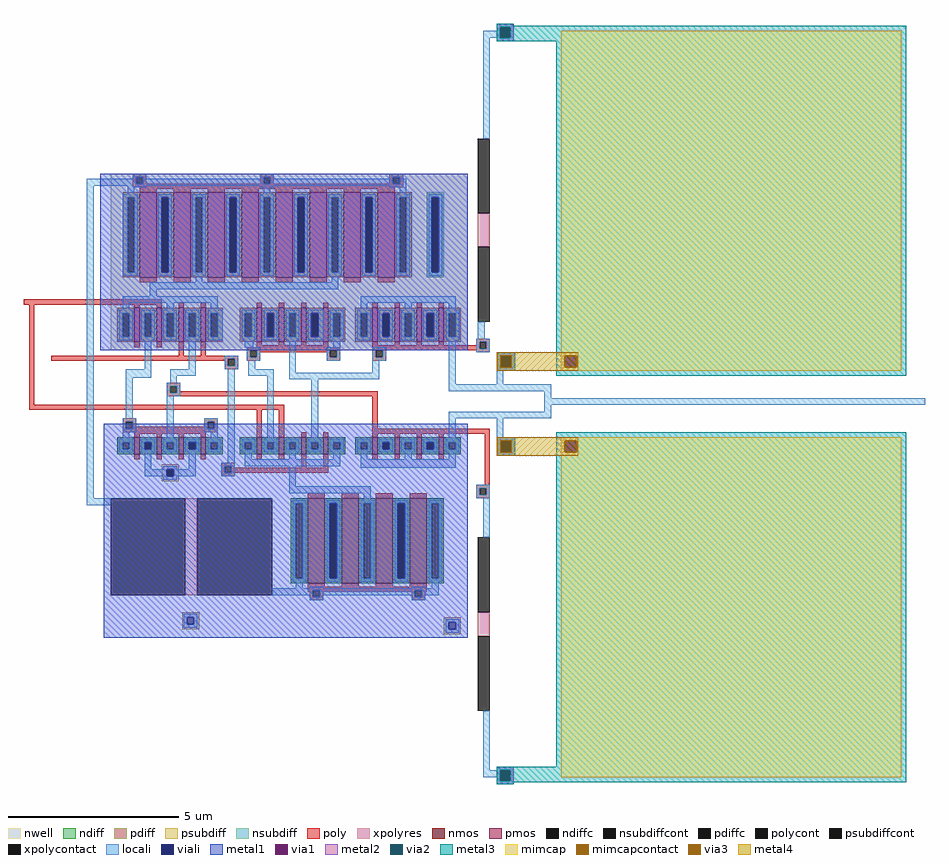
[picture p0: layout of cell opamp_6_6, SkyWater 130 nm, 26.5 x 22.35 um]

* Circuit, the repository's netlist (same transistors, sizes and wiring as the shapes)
* NGSPICE file created from opamp_6_6.ext - technology: sky130A

**.subckt opamp_6_6
X0 a_3420_n350# a_3000_310# w_1980_260# w_1980_260# sky130_fd_pr__pfet_01v8 ad=0.25 pd=1.5 as=0.25 ps=1.5 w=1 l=0.15
X1 w_1980_260# a_3000_310# a_3420_n350# w_1980_260# sky130_fd_pr__pfet_01v8 ad=0.25 pd=1.5 as=0.5 ps=3 w=1 l=0.15
X2 a_3420_n350# a_2280_n350# a_2150_n350# a_2150_n350# sky130_fd_pr__nfet_01v8 ad=0.125 pd=1 as=0.125 ps=1 w=0.5 l=0.15
X3 a_3420_n350# a_4140_1066# sky130_fd_pr__cap_mim_m3_1 l=10 w=10
X4 a_2020_310# a_1980_n1180# w_1980_260# w_1980_260# sky130_fd_pr__pfet_01v8 ad=0.625 pd=3 as=0.625 ps=3 w=2.5 l=0.5
X5 a_3420_n350# a_3000_310# w_1980_260# w_1980_260# sky130_fd_pr__pfet_01v8 ad=0.5 pd=3 as=0.25 ps=1.5 w=1 l=0.15
X6 a_2280_n350# a_2020_n350# a_2150_n350# a_2150_n350# sky130_fd_pr__nfet_01v8 ad=0.125 pd=1 as=0.125 ps=1 w=0.5 l=0.15
X7 w_1980_260# a_1980_n1180# a_2020_310# w_1980_260# sky130_fd_pr__pfet_01v8 ad=0.625 pd=3 as=0.625 ps=3 w=2.5 l=0.5
X8 a_4140_1066# a_3000_310# a_2150_n350# sky130_fd_pr__res_xhigh_po_0p35 l=1.14
X9 a_2150_n350# a_2280_n350# a_3420_n350# a_2150_n350# sky130_fd_pr__nfet_01v8 ad=0.125 pd=1 as=0.25 ps=2 w=0.5 l=0.15
X10 a_2150_n350# a_2020_n350# a_2020_n350# a_2150_n350# sky130_fd_pr__nfet_01v8 ad=0.125 pd=1 as=0.25 ps=2 w=0.5 l=0.15
X11 w_1980_260# a_1980_n1180# a_1980_n1180# w_1980_260# sky130_fd_pr__pfet_01v8 ad=0.625 pd=3 as=1.25 ps=6 w=2.5 l=0.5
X12 a_2280_n350# a_1630_200# a_2020_310# w_1980_260# sky130_fd_pr__pfet_01v8 ad=0.25 pd=1.5 as=0.25 ps=1.5 w=1 l=0.15
X13 a_2020_310# a_1470_530# a_2020_n350# w_1980_260# sky130_fd_pr__pfet_01v8 ad=0.25 pd=1.5 as=0.25 ps=1.5 w=1 l=0.15
X14 a_2490_n1180# a_2490_n1180# a_2150_n350# a_2150_n350# sky130_fd_pr__nfet_01v8 ad=1.25 pd=6 as=0.625 ps=3 w=2.5 l=0.5
X15 w_1980_260# a_1980_n1180# a_2020_310# w_1980_260# sky130_fd_pr__pfet_01v8 ad=0.625 pd=3 as=0.625 ps=3 w=2.5 l=0.5
X16 a_2020_n350# a_1470_530# a_2020_310# w_1980_260# sky130_fd_pr__pfet_01v8 ad=0.25 pd=1.5 as=0.5 ps=3 w=1 l=0.15
X17 a_3420_n350# a_2280_n350# a_2150_n350# a_2150_n350# sky130_fd_pr__nfet_01v8 ad=0.25 pd=2 as=0.125 ps=1 w=0.5 l=0.15
X18 a_1980_n1180# a_1980_n1180# w_1980_260# w_1980_260# sky130_fd_pr__pfet_01v8 ad=0.625 pd=3 as=0.625 ps=3 w=2.5 l=0.5
X19 a_2020_310# a_1630_200# a_2280_n350# w_1980_260# sky130_fd_pr__pfet_01v8 ad=0.5 pd=3 as=0.25 ps=1.5 w=1 l=0.15
X20 a_2020_n350# a_2020_n350# a_2150_n350# a_2150_n350# sky130_fd_pr__nfet_01v8 ad=0.25 pd=2 as=0.125 ps=1 w=0.5 l=0.15
X21 a_2150_n350# a_2490_n1180# a_2740_n350# a_2150_n350# sky130_fd_pr__nfet_01v8 ad=0.625 pd=3 as=0.625 ps=3 w=2.5 l=0.5
X22 a_2280_n350# a_4140_n1860# a_2150_n350# sky130_fd_pr__res_xhigh_po_0p35 l=0.86
X23 a_2740_n350# a_1630_200# a_3000_310# a_2150_n350# sky130_fd_pr__nfet_01v8 ad=0.25 pd=2 as=0.125 ps=1 w=0.5 l=0.15
X24 a_2740_310# a_2740_310# w_1980_260# w_1980_260# sky130_fd_pr__pfet_01v8 ad=0.5 pd=3 as=0.25 ps=1.5 w=1 l=0.15
X25 a_2020_310# a_1980_n1180# w_1980_260# w_1980_260# sky130_fd_pr__pfet_01v8 ad=0.625 pd=3 as=0.625 ps=3 w=2.5 l=0.5
X26 a_3000_310# a_1630_200# a_2740_n350# a_2150_n350# sky130_fd_pr__nfet_01v8 ad=0.125 pd=1 as=0.125 ps=1 w=0.5 l=0.15
X27 w_1980_260# a_2740_310# a_3000_310# w_1980_260# sky130_fd_pr__pfet_01v8 ad=0.25 pd=1.5 as=0.25 ps=1.5 w=1 l=0.15
X28 a_2740_n350# a_2490_n1180# a_2150_n350# a_2150_n350# sky130_fd_pr__nfet_01v8 ad=0.625 pd=3 as=0.625 ps=3 w=2.5 l=0.5
X29 a_2740_n350# a_1470_530# a_2740_310# a_2150_n350# sky130_fd_pr__nfet_01v8 ad=0.125 pd=1 as=0.125 ps=1 w=0.5 l=0.15
X30 a_3000_310# a_2740_310# w_1980_260# w_1980_260# sky130_fd_pr__pfet_01v8 ad=0.25 pd=1.5 as=0.25 ps=1.5 w=1 l=0.15
X31 a_3420_n350# a_4140_n1860# sky130_fd_pr__cap_mim_m3_1 l=10 w=10
X32 a_1980_n1180# a_1980_n1180# w_1980_260# w_1980_260# sky130_fd_pr__pfet_01v8 ad=1.25 pd=6 as=0.625 ps=3 w=2.5 l=0.5
X33 w_1980_260# a_2740_310# a_2740_310# w_1980_260# sky130_fd_pr__pfet_01v8 ad=0.25 pd=1.5 as=0.5 ps=3 w=1 l=0.15
X34 a_2150_n350# a_2280_n350# a_3420_n350# a_2150_n350# sky130_fd_pr__nfet_01v8 ad=0.125 pd=1 as=0.125 ps=1 w=0.5 l=0.15
X35 a_1980_n1180# a_2490_n1180# a_2150_n350# sky130_fd_pr__res_xhigh_po_2p85 l=0.51
X36 w_1980_260# a_3000_310# a_3420_n350# w_1980_260# sky130_fd_pr__pfet_01v8 ad=0.25 pd=1.5 as=0.25 ps=1.5 w=1 l=0.15
X37 w_1980_260# a_1980_n1180# a_1980_n1180# w_1980_260# sky130_fd_pr__pfet_01v8 ad=0.625 pd=3 as=0.625 ps=3 w=2.5 l=0.5
X38 a_2150_n350# a_2020_n350# a_2280_n350# a_2150_n350# sky130_fd_pr__nfet_01v8 ad=0.125 pd=1 as=0.125 ps=1 w=0.5 l=0.15
X39 a_2740_310# a_1470_530# a_2740_n350# a_2150_n350# sky130_fd_pr__nfet_01v8 ad=0.125 pd=1 as=0.25 ps=2 w=0.5 l=0.15
X40 a_2150_n350# a_2490_n1180# a_2490_n1180# a_2150_n350# sky130_fd_pr__nfet_01v8 ad=0.625 pd=3 as=1.25 ps=6 w=2.5 l=0.5
.ends

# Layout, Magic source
magic
tech sky130A
<< nwell >>
rect 990 130 2040 650
<< nmos >>
rect 1060 -175 1075 -125
rect 1125 -175 1140 -125
rect 1190 -175 1205 -125
rect 1255 -175 1270 -125
rect 1420 -175 1435 -125
rect 1485 -175 1500 -125
rect 1550 -175 1565 -125
rect 1615 -175 1630 -125
rect 1760 -175 1775 -125
rect 1825 -175 1840 -125
rect 1890 -175 1905 -125
rect 1955 -175 1970 -125
rect 1570 -555 1620 -305
rect 1670 -555 1720 -305
rect 1770 -555 1820 -305
rect 1870 -555 1920 -305
<< pmos >>
rect 1075 345 1125 595
rect 1175 345 1225 595
rect 1275 345 1325 595
rect 1375 345 1425 595
rect 1475 345 1525 595
rect 1575 345 1625 595
rect 1675 345 1725 595
rect 1775 345 1825 595
rect 1060 155 1075 255
rect 1125 155 1140 255
rect 1190 155 1205 255
rect 1255 155 1270 255
rect 1420 155 1435 255
rect 1485 155 1500 255
rect 1550 155 1565 255
rect 1615 155 1630 255
rect 1760 155 1775 255
rect 1825 155 1840 255
rect 1890 155 1905 255
rect 1955 155 1970 255
<< ndiff >>
rect 1010 -140 1060 -125
rect 1010 -160 1025 -140
rect 1045 -160 1060 -140
rect 1010 -175 1060 -160
rect 1075 -140 1125 -125
rect 1075 -160 1090 -140
rect 1110 -160 1125 -140
rect 1075 -175 1125 -160
rect 1140 -140 1190 -125
rect 1140 -160 1155 -140
rect 1175 -160 1190 -140
rect 1140 -175 1190 -160
rect 1205 -140 1255 -125
rect 1205 -160 1220 -140
rect 1240 -160 1255 -140
rect 1205 -175 1255 -160
rect 1270 -140 1320 -125
rect 1270 -160 1285 -140
rect 1305 -160 1320 -140
rect 1270 -175 1320 -160
rect 1370 -140 1420 -125
rect 1370 -160 1385 -140
rect 1405 -160 1420 -140
rect 1370 -175 1420 -160
rect 1435 -140 1485 -125
rect 1435 -160 1450 -140
rect 1470 -160 1485 -140
rect 1435 -175 1485 -160
rect 1500 -140 1550 -125
rect 1500 -160 1515 -140
rect 1535 -160 1550 -140
rect 1500 -175 1550 -160
rect 1565 -140 1615 -125
rect 1565 -160 1580 -140
rect 1600 -160 1615 -140
rect 1565 -175 1615 -160
rect 1630 -140 1680 -125
rect 1630 -160 1645 -140
rect 1665 -160 1680 -140
rect 1630 -175 1680 -160
rect 1710 -140 1760 -125
rect 1710 -160 1725 -140
rect 1745 -160 1760 -140
rect 1710 -175 1760 -160
rect 1775 -140 1825 -125
rect 1775 -160 1790 -140
rect 1810 -160 1825 -140
rect 1775 -175 1825 -160
rect 1840 -140 1890 -125
rect 1840 -160 1855 -140
rect 1875 -160 1890 -140
rect 1840 -175 1890 -160
rect 1905 -140 1955 -125
rect 1905 -160 1920 -140
rect 1940 -160 1955 -140
rect 1905 -175 1955 -160
rect 1970 -140 2020 -125
rect 1970 -160 1985 -140
rect 2005 -160 2020 -140
rect 1970 -175 2020 -160
rect 1520 -320 1570 -305
rect 1520 -540 1535 -320
rect 1555 -540 1570 -320
rect 1520 -555 1570 -540
rect 1620 -320 1670 -305
rect 1620 -540 1635 -320
rect 1655 -540 1670 -320
rect 1620 -555 1670 -540
rect 1720 -320 1770 -305
rect 1720 -540 1735 -320
rect 1755 -540 1770 -320
rect 1720 -555 1770 -540
rect 1820 -320 1870 -305
rect 1820 -540 1835 -320
rect 1855 -540 1870 -320
rect 1820 -555 1870 -540
rect 1920 -320 1970 -305
rect 1920 -540 1935 -320
rect 1955 -540 1970 -320
rect 1920 -555 1970 -540
<< pdiff >>
rect 1025 580 1075 595
rect 1025 360 1040 580
rect 1060 360 1075 580
rect 1025 345 1075 360
rect 1125 580 1175 595
rect 1125 360 1140 580
rect 1160 360 1175 580
rect 1125 345 1175 360
rect 1225 580 1275 595
rect 1225 360 1240 580
rect 1260 360 1275 580
rect 1225 345 1275 360
rect 1325 580 1375 595
rect 1325 360 1340 580
rect 1360 360 1375 580
rect 1325 345 1375 360
rect 1425 580 1475 595
rect 1425 360 1440 580
rect 1460 360 1475 580
rect 1425 345 1475 360
rect 1525 580 1575 595
rect 1525 360 1540 580
rect 1560 360 1575 580
rect 1525 345 1575 360
rect 1625 580 1675 595
rect 1625 360 1640 580
rect 1660 360 1675 580
rect 1625 345 1675 360
rect 1725 580 1775 595
rect 1725 360 1740 580
rect 1760 360 1775 580
rect 1725 345 1775 360
rect 1825 580 1875 595
rect 1825 360 1840 580
rect 1860 360 1875 580
rect 1825 345 1875 360
rect 1010 240 1060 255
rect 1010 170 1025 240
rect 1045 170 1060 240
rect 1010 155 1060 170
rect 1075 240 1125 255
rect 1075 170 1090 240
rect 1110 170 1125 240
rect 1075 155 1125 170
rect 1140 240 1190 255
rect 1140 170 1155 240
rect 1175 170 1190 240
rect 1140 155 1190 170
rect 1205 240 1255 255
rect 1205 170 1220 240
rect 1240 170 1255 240
rect 1205 155 1255 170
rect 1270 240 1320 255
rect 1270 170 1285 240
rect 1305 170 1320 240
rect 1270 155 1320 170
rect 1370 240 1420 255
rect 1370 170 1385 240
rect 1405 170 1420 240
rect 1370 155 1420 170
rect 1435 240 1485 255
rect 1435 170 1450 240
rect 1470 170 1485 240
rect 1435 155 1485 170
rect 1500 240 1550 255
rect 1500 170 1515 240
rect 1535 170 1550 240
rect 1500 155 1550 170
rect 1565 240 1615 255
rect 1565 170 1580 240
rect 1600 170 1615 240
rect 1565 155 1615 170
rect 1630 240 1680 255
rect 1630 170 1645 240
rect 1665 170 1680 240
rect 1630 155 1680 170
rect 1710 240 1760 255
rect 1710 170 1725 240
rect 1745 170 1760 240
rect 1710 155 1760 170
rect 1775 240 1825 255
rect 1775 170 1790 240
rect 1810 170 1825 240
rect 1775 155 1825 170
rect 1840 240 1890 255
rect 1840 170 1855 240
rect 1875 170 1890 240
rect 1840 155 1890 170
rect 1905 240 1955 255
rect 1905 170 1920 240
rect 1940 170 1955 240
rect 1905 155 1955 170
rect 1970 240 2020 255
rect 1970 170 1985 240
rect 2005 170 2020 240
rect 1970 155 2020 170
<< ndiffc >>
rect 1025 -160 1045 -140
rect 1090 -160 1110 -140
rect 1155 -160 1175 -140
rect 1220 -160 1240 -140
rect 1285 -160 1305 -140
rect 1385 -160 1405 -140
rect 1450 -160 1470 -140
rect 1515 -160 1535 -140
rect 1580 -160 1600 -140
rect 1645 -160 1665 -140
rect 1725 -160 1745 -140
rect 1790 -160 1810 -140
rect 1855 -160 1875 -140
rect 1920 -160 1940 -140
rect 1985 -160 2005 -140
rect 1535 -540 1555 -320
rect 1635 -540 1655 -320
rect 1735 -540 1755 -320
rect 1835 -540 1855 -320
rect 1935 -540 1955 -320
<< pdiffc >>
rect 1040 360 1060 580
rect 1140 360 1160 580
rect 1240 360 1260 580
rect 1340 360 1360 580
rect 1440 360 1460 580
rect 1540 360 1560 580
rect 1640 360 1660 580
rect 1740 360 1760 580
rect 1840 360 1860 580
rect 1025 170 1045 240
rect 1090 170 1110 240
rect 1155 170 1175 240
rect 1220 170 1240 240
rect 1285 170 1305 240
rect 1385 170 1405 240
rect 1450 170 1470 240
rect 1515 170 1535 240
rect 1580 170 1600 240
rect 1645 170 1665 240
rect 1725 170 1745 240
rect 1790 170 1810 240
rect 1855 170 1875 240
rect 1920 170 1940 240
rect 1985 170 2005 240
<< psubdiff >>
rect 1140 -220 1190 -205
rect 1140 -240 1155 -220
rect 1175 -240 1190 -220
rect 1140 -255 1190 -240
rect 1200 -690 1250 -640
rect 1970 -705 2020 -655
<< nsubdiff >>
rect 1920 580 1970 595
rect 1920 360 1935 580
rect 1955 360 1970 580
rect 1920 345 1970 360
<< psubdiffcont >>
rect 1155 -240 1175 -220
<< nsubdiffcont >>
rect 1935 360 1955 580
<< poly >>
rect 1055 640 1095 650
rect 1055 620 1065 640
rect 1085 620 1095 640
rect 1430 640 1470 650
rect 1430 620 1440 640
rect 1460 620 1470 640
rect 1810 640 1850 650
rect 1810 620 1820 640
rect 1840 620 1850 640
rect 1055 610 1850 620
rect 1075 605 1825 610
rect 1075 595 1125 605
rect 1175 595 1225 605
rect 1275 595 1325 605
rect 1375 595 1425 605
rect 1475 595 1525 605
rect 1575 595 1625 605
rect 1675 595 1725 605
rect 1775 595 1825 605
rect 1075 330 1125 345
rect 1175 330 1225 345
rect 1275 330 1325 345
rect 1375 330 1425 345
rect 1475 330 1525 345
rect 1575 330 1625 345
rect 1675 330 1725 345
rect 1775 330 1825 345
rect 735 265 1140 280
rect 750 -30 765 265
rect 1060 255 1075 265
rect 1125 255 1140 265
rect 1190 255 1205 270
rect 1255 255 1270 270
rect 1420 255 1435 270
rect 1485 255 1500 270
rect 1550 255 1565 270
rect 1615 255 1630 270
rect 1760 255 1775 270
rect 1825 255 1840 270
rect 1890 255 1905 270
rect 1955 255 1970 270
rect 2065 155 2105 165
rect 1060 140 1075 155
rect 1125 140 1140 155
rect 1190 115 1205 155
rect 1255 115 1270 155
rect 1420 145 1435 155
rect 1485 145 1500 155
rect 1550 145 1565 155
rect 1615 145 1630 155
rect 1420 140 1630 145
rect 1760 145 1775 155
rect 1825 145 1840 155
rect 1890 145 1905 155
rect 1955 145 1970 155
rect 2065 145 2075 155
rect 1390 130 1665 140
rect 815 105 1365 115
rect 815 100 1335 105
rect 1325 85 1335 100
rect 1355 85 1365 105
rect 1390 110 1400 130
rect 1420 125 1635 130
rect 1420 110 1430 125
rect 1390 100 1430 110
rect 1625 110 1635 125
rect 1655 110 1665 130
rect 1625 100 1665 110
rect 1760 135 2075 145
rect 2095 135 2105 155
rect 1760 130 2105 135
rect 1760 110 1770 130
rect 1790 110 1800 130
rect 2065 125 2105 130
rect 1760 100 1800 110
rect 1325 75 1365 85
rect 1155 25 1195 35
rect 1155 5 1165 25
rect 1185 10 1195 25
rect 1185 5 1775 10
rect 1155 -5 1775 5
rect 750 -45 1500 -30
rect 1025 -80 1065 -70
rect 1025 -100 1035 -80
rect 1055 -95 1065 -80
rect 1265 -80 1305 -70
rect 1265 -95 1275 -80
rect 1055 -100 1275 -95
rect 1295 -100 1305 -80
rect 1025 -110 1305 -100
rect 1060 -115 1270 -110
rect 1060 -125 1075 -115
rect 1125 -125 1140 -115
rect 1190 -125 1205 -115
rect 1255 -125 1270 -115
rect 1420 -125 1435 -45
rect 1485 -125 1500 -45
rect 1760 -100 1775 -5
rect 1550 -125 1565 -110
rect 1615 -125 1630 -110
rect 1760 -115 2105 -100
rect 1760 -125 1775 -115
rect 1825 -125 1840 -115
rect 1890 -125 1905 -115
rect 1955 -125 1970 -115
rect 1060 -190 1075 -175
rect 1125 -190 1140 -175
rect 1190 -190 1205 -175
rect 1255 -190 1270 -175
rect 1420 -190 1435 -175
rect 1485 -190 1500 -175
rect 1315 -210 1355 -200
rect 1315 -230 1325 -210
rect 1345 -215 1355 -210
rect 1550 -215 1565 -175
rect 1615 -215 1630 -175
rect 1760 -190 1775 -175
rect 1825 -190 1840 -175
rect 1890 -190 1905 -175
rect 1955 -190 1970 -175
rect 1345 -230 1630 -215
rect 1315 -240 1355 -230
rect 2090 -265 2105 -115
rect 2065 -275 2105 -265
rect 1570 -305 1620 -290
rect 1670 -305 1720 -290
rect 1770 -305 1820 -290
rect 1870 -305 1920 -290
rect 2065 -295 2075 -275
rect 2095 -295 2105 -275
rect 2065 -305 2105 -295
rect 1570 -565 1620 -555
rect 1670 -565 1720 -555
rect 1770 -565 1820 -555
rect 1870 -565 1920 -555
rect 1570 -575 1920 -565
rect 1570 -580 1585 -575
rect 1575 -595 1585 -580
rect 1605 -580 1885 -575
rect 1605 -595 1615 -580
rect 1575 -605 1615 -595
rect 1875 -595 1885 -580
rect 1905 -580 1920 -575
rect 1905 -595 1915 -580
rect 1875 -605 1915 -595
<< polycont >>
rect 1065 620 1085 640
rect 1440 620 1460 640
rect 1820 620 1840 640
rect 1335 85 1355 105
rect 1400 110 1420 130
rect 1635 110 1655 130
rect 2075 135 2095 155
rect 1770 110 1790 130
rect 1165 5 1185 25
rect 1035 -100 1055 -80
rect 1275 -100 1295 -80
rect 1325 -230 1345 -210
rect 2075 -295 2095 -275
rect 1585 -595 1605 -575
rect 1885 -595 1905 -575
<< xpolycontact >>
rect 2070 533 2105 753
rect 2070 215 2105 435
rect 990 -590 1210 -305
rect 1245 -590 1465 -305
rect 2070 -640 2105 -420
rect 2070 -930 2105 -710
<< xpolyres >>
rect 2070 435 2105 533
rect 1210 -590 1245 -305
rect 2070 -710 2105 -640
<< locali >>
rect 2125 1080 2175 1090
rect 2125 1070 2135 1080
rect 2085 1050 2135 1070
rect 2165 1050 2175 1080
rect 2085 753 2105 1050
rect 2125 1040 2175 1050
rect 1055 640 1095 650
rect 1055 635 1065 640
rect 920 620 1065 635
rect 1085 635 1095 640
rect 1430 640 1470 650
rect 1430 635 1440 640
rect 1085 620 1440 635
rect 1460 635 1470 640
rect 1810 640 1850 650
rect 1810 635 1820 640
rect 1460 620 1820 635
rect 1840 635 1850 640
rect 1840 620 1860 635
rect 920 615 1860 620
rect 920 -305 940 615
rect 1040 610 1095 615
rect 1430 610 1470 615
rect 1810 610 1860 615
rect 1040 590 1060 610
rect 1440 590 1460 610
rect 1840 590 1860 610
rect 1025 580 1070 590
rect 1025 360 1040 580
rect 1060 360 1070 580
rect 1025 350 1070 360
rect 1130 580 1170 590
rect 1130 360 1140 580
rect 1160 360 1170 580
rect 1130 350 1170 360
rect 1230 580 1270 590
rect 1230 360 1240 580
rect 1260 360 1270 580
rect 1230 350 1270 360
rect 1330 580 1370 590
rect 1330 360 1340 580
rect 1360 360 1370 580
rect 1330 350 1370 360
rect 1430 580 1470 590
rect 1430 360 1440 580
rect 1460 360 1470 580
rect 1430 350 1470 360
rect 1530 580 1570 590
rect 1530 360 1540 580
rect 1560 360 1570 580
rect 1530 350 1570 360
rect 1630 580 1670 590
rect 1630 360 1640 580
rect 1660 360 1670 580
rect 1630 350 1670 360
rect 1730 580 1770 590
rect 1730 360 1740 580
rect 1760 360 1770 580
rect 1730 350 1770 360
rect 1830 580 1870 590
rect 1830 360 1840 580
rect 1860 360 1870 580
rect 1830 350 1870 360
rect 1925 580 1965 590
rect 1925 360 1935 580
rect 1955 360 1965 580
rect 1925 350 1965 360
rect 1240 330 1260 350
rect 1640 330 1660 350
rect 1105 310 1660 330
rect 1105 290 1125 310
rect 1025 270 1305 290
rect 1025 250 1045 270
rect 1155 250 1175 270
rect 1285 250 1305 270
rect 1725 270 2005 290
rect 1725 250 1745 270
rect 1855 250 1875 270
rect 1985 250 2005 270
rect 1015 240 1055 250
rect 1015 170 1025 240
rect 1045 170 1055 240
rect 1015 160 1055 170
rect 1080 240 1120 250
rect 1080 170 1090 240
rect 1110 170 1120 240
rect 1080 160 1120 170
rect 1145 240 1185 250
rect 1145 170 1155 240
rect 1175 170 1185 240
rect 1145 160 1185 170
rect 1210 240 1250 250
rect 1210 170 1220 240
rect 1240 170 1250 240
rect 1210 160 1250 170
rect 1275 240 1320 250
rect 1275 170 1285 240
rect 1305 170 1320 240
rect 1275 160 1320 170
rect 1375 240 1415 250
rect 1375 170 1385 240
rect 1405 170 1415 240
rect 1375 160 1415 170
rect 1440 240 1480 250
rect 1440 170 1450 240
rect 1470 170 1480 240
rect 1440 160 1480 170
rect 1505 240 1545 250
rect 1505 170 1515 240
rect 1535 170 1545 240
rect 1505 160 1545 170
rect 1570 240 1615 250
rect 1570 170 1580 240
rect 1600 170 1615 240
rect 1570 160 1615 170
rect 1635 240 1675 250
rect 1635 170 1645 240
rect 1665 170 1675 240
rect 1635 160 1675 170
rect 1715 240 1755 250
rect 1715 170 1725 240
rect 1745 170 1755 240
rect 1715 160 1755 170
rect 1780 240 1820 250
rect 1780 170 1790 240
rect 1810 170 1820 240
rect 1780 160 1820 170
rect 1845 240 1885 250
rect 1845 170 1855 240
rect 1875 170 1885 240
rect 1845 160 1885 170
rect 1910 240 1950 250
rect 1910 170 1920 240
rect 1940 170 1950 240
rect 1910 160 1950 170
rect 1975 240 2015 250
rect 1975 170 1985 240
rect 2005 170 2015 240
rect 1975 160 2015 170
rect 2070 165 2090 215
rect 1090 75 1110 160
rect 1220 75 1240 160
rect 1385 140 1410 160
rect 1390 130 1430 140
rect 1325 105 1365 115
rect 1325 85 1335 105
rect 1355 85 1365 105
rect 1390 110 1400 130
rect 1420 110 1430 130
rect 1390 100 1430 110
rect 1325 75 1365 85
rect 1395 75 1415 100
rect 1035 50 1110 75
rect 1165 55 1240 75
rect 1035 -70 1055 50
rect 1165 35 1185 55
rect 1155 25 1195 35
rect 1155 5 1165 25
rect 1185 5 1195 25
rect 1155 -5 1195 5
rect 1025 -80 1065 -70
rect 1025 -100 1035 -80
rect 1055 -100 1065 -80
rect 1025 -110 1065 -100
rect 1025 -130 1045 -110
rect 1155 -130 1175 -5
rect 1265 -80 1305 -70
rect 1265 -100 1275 -80
rect 1295 -100 1305 -80
rect 1265 -110 1305 -100
rect 1285 -130 1305 -110
rect 1015 -140 1055 -130
rect 1015 -160 1025 -140
rect 1045 -160 1055 -140
rect 1015 -170 1055 -160
rect 1080 -140 1120 -130
rect 1080 -160 1090 -140
rect 1110 -160 1120 -140
rect 1080 -170 1120 -160
rect 1145 -140 1185 -130
rect 1145 -160 1155 -140
rect 1175 -160 1185 -140
rect 1145 -170 1185 -160
rect 1210 -140 1250 -130
rect 1210 -160 1220 -140
rect 1240 -160 1250 -140
rect 1210 -170 1250 -160
rect 1275 -140 1315 -130
rect 1275 -160 1285 -140
rect 1305 -160 1315 -140
rect 1275 -170 1315 -160
rect 1090 -220 1110 -170
rect 1145 -220 1185 -210
rect 1220 -220 1240 -170
rect 1335 -200 1355 75
rect 1395 55 1470 75
rect 1450 -130 1470 55
rect 1515 65 1535 160
rect 1645 140 1665 160
rect 1625 130 1665 140
rect 1625 110 1635 130
rect 1655 110 1665 130
rect 1625 100 1665 110
rect 1760 130 1800 140
rect 1760 110 1770 130
rect 1790 110 1800 130
rect 1760 100 1800 110
rect 1760 65 1780 100
rect 1515 45 1780 65
rect 1580 -130 1600 45
rect 1985 30 2005 160
rect 2065 155 2105 165
rect 2065 135 2075 155
rect 2095 135 2105 155
rect 2065 125 2105 135
rect 2125 115 2180 125
rect 2125 80 2135 115
rect 2170 80 2180 115
rect 2125 70 2180 80
rect 2125 30 2145 70
rect 1985 10 2285 30
rect 2265 -10 2285 10
rect 2265 -30 3385 -10
rect 2265 -50 2285 -30
rect 1985 -70 2285 -50
rect 1985 -130 2005 -70
rect 2125 -125 2145 -70
rect 1375 -140 1415 -130
rect 1375 -160 1385 -140
rect 1405 -160 1415 -140
rect 1375 -170 1415 -160
rect 1440 -140 1480 -130
rect 1440 -160 1450 -140
rect 1470 -160 1480 -140
rect 1440 -170 1480 -160
rect 1505 -140 1545 -130
rect 1505 -160 1515 -140
rect 1535 -160 1545 -140
rect 1505 -170 1545 -160
rect 1570 -140 1610 -130
rect 1570 -160 1580 -140
rect 1600 -160 1610 -140
rect 1570 -170 1610 -160
rect 1635 -140 1675 -130
rect 1635 -160 1645 -140
rect 1665 -160 1675 -140
rect 1635 -170 1675 -160
rect 1715 -140 1755 -130
rect 1715 -160 1725 -140
rect 1745 -160 1755 -140
rect 1715 -170 1755 -160
rect 1780 -140 1820 -130
rect 1780 -160 1790 -140
rect 1810 -160 1820 -140
rect 1780 -170 1820 -160
rect 1845 -140 1885 -130
rect 1845 -160 1855 -140
rect 1875 -160 1885 -140
rect 1845 -170 1885 -160
rect 1910 -140 1950 -130
rect 1910 -160 1920 -140
rect 1940 -160 1950 -140
rect 1910 -170 1950 -160
rect 1975 -140 2015 -130
rect 1975 -160 1985 -140
rect 2005 -160 2015 -140
rect 1975 -170 2015 -160
rect 2125 -135 2180 -125
rect 2125 -170 2135 -135
rect 2170 -170 2180 -135
rect 1090 -240 1155 -220
rect 1175 -240 1240 -220
rect 1315 -210 1355 -200
rect 1385 -190 1405 -170
rect 1515 -190 1535 -170
rect 1645 -190 1665 -170
rect 1385 -210 1665 -190
rect 1725 -190 1745 -170
rect 1855 -190 1875 -170
rect 1985 -190 2005 -170
rect 2125 -180 2180 -170
rect 1315 -230 1325 -210
rect 1345 -230 1355 -210
rect 1315 -240 1355 -230
rect 1145 -250 1185 -240
rect 1515 -270 1535 -210
rect 1725 -215 2005 -190
rect 1515 -290 1755 -270
rect 920 -325 990 -305
rect 1735 -310 1755 -290
rect 2065 -275 2105 -265
rect 2065 -295 2075 -275
rect 2095 -295 2105 -275
rect 2065 -305 2105 -295
rect 1525 -320 1565 -310
rect 1525 -540 1535 -320
rect 1555 -540 1565 -320
rect 1525 -550 1565 -540
rect 1625 -320 1665 -310
rect 1625 -540 1635 -320
rect 1655 -540 1665 -320
rect 1625 -550 1665 -540
rect 1725 -320 1765 -310
rect 1725 -540 1735 -320
rect 1755 -540 1765 -320
rect 1725 -550 1765 -540
rect 1825 -320 1865 -310
rect 1825 -540 1835 -320
rect 1855 -540 1865 -320
rect 1825 -550 1865 -540
rect 1925 -320 1965 -310
rect 1925 -540 1935 -320
rect 1955 -540 1965 -320
rect 2085 -420 2105 -305
rect 1925 -550 1965 -540
rect 1535 -570 1555 -550
rect 1575 -570 1615 -565
rect 1875 -570 1915 -565
rect 1935 -570 1955 -550
rect 1465 -575 1955 -570
rect 1465 -590 1585 -575
rect 1575 -595 1585 -590
rect 1605 -590 1885 -575
rect 1605 -595 1615 -590
rect 1575 -605 1615 -595
rect 1875 -595 1885 -590
rect 1905 -590 1955 -575
rect 1905 -595 1915 -590
rect 1875 -605 1915 -595
rect 1205 -655 1245 -645
rect 1205 -675 1215 -655
rect 1235 -675 1245 -655
rect 1205 -685 1245 -675
rect 1975 -670 2015 -660
rect 1975 -690 1985 -670
rect 2005 -690 2015 -670
rect 1975 -700 2015 -690
rect 2085 -1105 2105 -930
rect 2125 -1105 2175 -1095
rect 2085 -1125 2135 -1105
rect 2125 -1135 2135 -1125
rect 2165 -1135 2175 -1105
rect 2125 -1145 2175 -1135
<< viali >>
rect 2135 1050 2165 1080
rect 1140 360 1160 580
rect 1340 360 1360 580
rect 1540 360 1560 580
rect 1740 360 1760 580
rect 1935 360 1955 580
rect 1450 170 1470 240
rect 1580 170 1600 240
rect 1790 170 1810 240
rect 1920 170 1940 240
rect 1090 -160 1110 -140
rect 1220 -160 1240 -140
rect 2135 80 2170 115
rect 1790 -160 1810 -140
rect 1920 -160 1940 -140
rect 2135 -170 2170 -135
rect 1155 -240 1175 -220
rect 1635 -540 1655 -320
rect 1835 -540 1855 -320
rect 1215 -675 1235 -655
rect 1985 -690 2005 -670
rect 2135 -1135 2165 -1105
<< metal1 >>
rect 2125 1080 2175 1090
rect 2125 1050 2135 1080
rect 2165 1050 2175 1080
rect 2125 1040 2175 1050
rect 960 580 2040 650
rect 960 360 1140 580
rect 1160 360 1340 580
rect 1360 360 1540 580
rect 1560 360 1740 580
rect 1760 360 1935 580
rect 1955 360 2040 580
rect 960 240 2040 360
rect 960 170 1450 240
rect 1470 170 1580 240
rect 1600 170 1790 240
rect 1810 170 1920 240
rect 1940 170 2040 240
rect 960 130 2040 170
rect 2125 115 2180 125
rect 2125 80 2135 115
rect 2170 80 2180 115
rect 2125 70 2180 80
rect 970 -140 2040 -85
rect 970 -160 1090 -140
rect 1110 -160 1220 -140
rect 1240 -160 1790 -140
rect 1810 -160 1920 -140
rect 1940 -160 2040 -140
rect 970 -220 2040 -160
rect 2125 -135 2180 -125
rect 2125 -170 2135 -135
rect 2170 -170 2180 -135
rect 2125 -180 2180 -170
rect 970 -240 1155 -220
rect 1175 -240 2040 -220
rect 970 -320 2040 -240
rect 970 -540 1635 -320
rect 1655 -540 1835 -320
rect 1855 -540 2040 -320
rect 970 -655 2040 -540
rect 970 -675 1215 -655
rect 1235 -670 2040 -655
rect 1235 -675 1985 -670
rect 970 -690 1985 -675
rect 2005 -690 2040 -670
rect 970 -715 2040 -690
rect 2125 -1105 2175 -1095
rect 2125 -1135 2135 -1105
rect 2165 -1135 2175 -1105
rect 2125 -1145 2175 -1135
<< via1 >>
rect 2135 1050 2165 1080
rect 2135 80 2170 115
rect 2135 -170 2170 -135
rect 2135 -1135 2165 -1105
<< metal2 >>
rect 2125 1080 2175 1090
rect 2125 1050 2135 1080
rect 2165 1050 2175 1080
rect 2125 1040 2175 1050
rect 2125 115 2180 125
rect 2125 80 2135 115
rect 2170 80 2180 115
rect 2125 70 2180 80
rect 2125 -135 2180 -125
rect 2125 -170 2135 -135
rect 2170 -170 2180 -135
rect 2125 -180 2180 -170
rect 2125 -1105 2175 -1095
rect 2125 -1135 2135 -1105
rect 2165 -1135 2175 -1105
rect 2125 -1145 2175 -1135
<< via2 >>
rect 2135 1050 2165 1080
rect 2135 80 2170 115
rect 2135 -170 2170 -135
rect 2135 -1135 2165 -1105
<< metal3 >>
rect 2125 1085 2175 1090
rect 2125 1080 3330 1085
rect 2125 1050 2135 1080
rect 2165 1050 3330 1080
rect 2125 1040 3330 1050
rect 2125 115 2180 125
rect 2125 80 2135 115
rect 2170 80 2180 115
rect 2125 70 2180 80
rect 2300 55 3330 1040
rect 2125 -135 2180 -125
rect 2125 -170 2135 -135
rect 2170 -170 2180 -135
rect 2125 -180 2180 -170
rect 2300 -1095 3330 -110
rect 2125 -1105 3330 -1095
rect 2125 -1135 2135 -1105
rect 2165 -1135 3330 -1105
rect 2125 -1140 3330 -1135
rect 2125 -1145 2175 -1140
<< via3 >>
rect 2135 80 2170 115
rect 2135 -170 2170 -135
<< mimcap >>
rect 2315 115 3315 1070
rect 2315 80 2325 115
rect 2360 80 3315 115
rect 2315 70 3315 80
rect 2315 -135 3315 -125
rect 2315 -170 2325 -135
rect 2360 -170 3315 -135
rect 2315 -1125 3315 -170
<< mimcapcontact >>
rect 2325 80 2360 115
rect 2325 -170 2360 -135
<< metal4 >>
rect 2125 115 2365 125
rect 2125 80 2135 115
rect 2170 80 2325 115
rect 2360 80 2365 115
rect 2125 70 2365 80
rect 2125 -135 2365 -125
rect 2125 -170 2135 -135
rect 2170 -170 2325 -135
rect 2360 -170 2365 -135
rect 2125 -180 2365 -170
<< end >>
